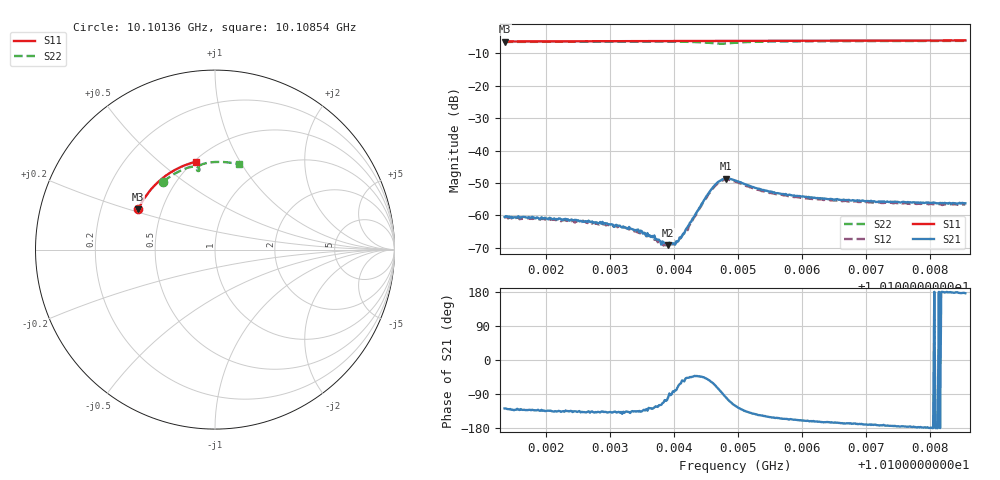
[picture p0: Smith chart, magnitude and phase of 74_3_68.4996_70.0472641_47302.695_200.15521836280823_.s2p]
#  HZ  S  RI  R  50.00
! Rohde & Schwarz Vector Network Analyzer
! Rohde-Schwarz,ZNB20-2Port,1311601062101988,3.16
! Created: UTC 3/20/2024, 5:07:02 PM
! freq[Hz]  re:S11  im:S11  re:S21  im:S21  re:S12  im:S12  re:S22  im:S22
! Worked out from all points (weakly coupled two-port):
!   401 points, 10.10136 GHz to 10.10854 GHz, reference 50 ohm
!   highest |S21| = -48.68 dB at 10.10481 GHz (marker M1); lowest = -69.2 dB at 10.10391 GHz (marker M2)
!   lowest |S11| = -6.3 dB at 10.10136 GHz (marker M3), VSWR 2.87, Z = 18.4 + j10.7 ohm
!   |S11| at or under -10 dB: nowhere
!   |S22| runs from -7.0 to -6.1 dB; largest |S21 - S12| = 0.00039
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1.0101363e10  -0.428 0.2235  -0.000577 -0.00074  -0.000529 -0.000744  -0.2885 0.3777
1.0101973e10  -0.4114 0.2565  -0.000607 -0.000648  -0.000557 -0.000673  -0.2571 0.402
1.0102566e10  -0.3926 0.2875  -0.000586 -0.00055  -0.000537 -0.000575  -0.2245 0.4228
1.0102925e10  -0.3803 0.3054  -0.000552 -0.000516  -0.000502 -0.000523  -0.2037 0.4341
1.0103338e10  -0.3651 0.3253  -0.000442 -0.000428  -0.000408 -0.000442  -0.1785 0.4461
1.0103661e10  -0.3523 0.3403  -0.000301 -0.000373  -0.000226 -0.000387  -0.1575 0.4542
1.0103769e10  -0.348 0.3452  -0.000205 -0.000365  -0.000173 -0.000365  -0.1502 0.4565
1.010384e10  -0.3452 0.3483  -0.000142 -0.000354  -9.76e-05 -0.000324  -0.1451 0.458
1.0103912e10  -0.3422 0.3515  -5.07e-05 -0.000344  -5.54e-05 -0.000335  -0.14 0.4593
1.0103984e10  -0.3391 0.3548  4.59e-05 -0.000367  5.06e-05 -0.000351  -0.1346 0.4604
1.0104038e10  -0.3368 0.3571  7.18e-05 -0.00039  0.000147 -0.000344  -0.1305 0.4614
1.0104092e10  -0.3345 0.3595  0.000204 -0.000407  0.000233 -0.000362  -0.1263 0.462
1.0104217e10  -0.3293 0.3648  0.000455 -0.000487  0.000431 -0.0004  -0.116 0.4628
1.0104451e10  -0.319 0.3745  0.00111 -0.00112  0.0012 -0.000974  -0.0955 0.4584
1.0104577e10  -0.3133 0.3796  0.00133 -0.00206  0.00145 -0.00184  -0.0873 0.4495
1.0104702e10  -0.3076 0.3846  0.000724 -0.00325  0.000954 -0.00306  -0.0891 0.4389
1.010481e10  -0.3027 0.389  -0.000516 -0.00364  -0.000194 -0.00353  -0.0971 0.4388
1.0104954e10  -0.296 0.3945  -0.00174 -0.00299  -0.0014 -0.00302  -0.1005 0.4506
1.0105456e10  -0.2722 0.4131  -0.00205 -0.00121  -0.00183 -0.00136  -0.0684 0.4765
1.0106157e10  -0.2365 0.4363  -0.00179 -0.000582  -0.00164 -0.000707  -0.0199 0.4862
1.010736e10  -0.1716 0.4686  -0.00159 -0.000174  -0.00152 -0.000343  0.0591 0.4871
1.0108545e10  -0.1032 0.4905  -0.00152 0.000103  -0.00145 -8.02e-05  0.1342 0.4746
